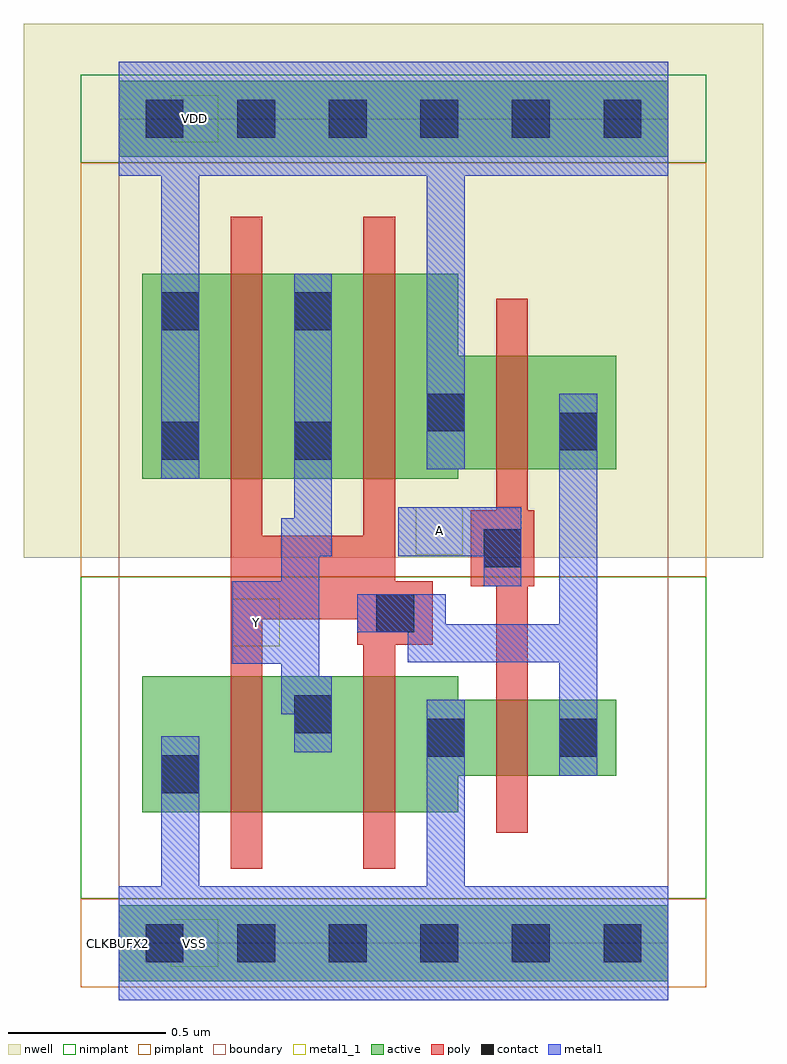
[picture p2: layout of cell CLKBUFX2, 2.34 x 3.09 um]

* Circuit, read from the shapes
.subckt CLKBUFX2 A VDD VSS Y
M1 Y n1 VSS VSS nfet w=0.43u l=0.1u m=2
M2 n1 A VSS VSS nfet w=0.24u l=0.1u
M3 Y n1 VDD VDD pfet w=0.65u l=0.1u m=2
M4 n1 A VDD VDD pfet w=0.36u l=0.1u
.ends

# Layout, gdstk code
import gdstk
lib = gdstk.Library(unit=1e-6, precision=5e-10)
def R(c, l, rs):  # rectangles x0, y0, x1, y1
    for r in rs: c.add(gdstk.rectangle(r[:2], r[2:], *l))
def A(c, l, x, y, w, h, nx, ny, dx, dy):  # array of equal rectangles
    R(c, l, [(x+i*dx, y+j*dy, x+i*dx+w, y+j*dy+h) for i in range(nx) for j in range(ny)])
active = (1, 0)
nwell = (2, 0)
poly = (3, 0)
nimplant = (4, 0)
pimplant = (5, 0)
contact = (6, 0)
metal1 = (7, 0)
metal1_1 = (7, 1)
boundary = (62, 0)

clkbufx2 = lib.new_cell('CLKBUFX2')
R(clkbufx2, active, [(0,-0.12,1.74,0.12), (0.075,0.415,1.075,0.53), (0.075,0.53,1.575,0.77), (0.075,0.77,1.075,0.845), (0.075,1.47,1.075,1.5), (0.075,1.5,1.575,1.86), (0.075,1.86,1.075,2.12), (0,2.49,1.74,2.73)])
R(clkbufx2, nwell, [(-0.3,1.22,2.04,2.91)])
R(clkbufx2, poly, [(0.355,0.235,0.455,1.025), (0.775,0.235,0.875,0.945), (1.195,0.35,1.295,1.13), (0.755,0.945,0.995,1.025), (0.355,1.025,0.995,1.145), (1.115,1.13,1.315,1.37), (0.355,1.145,0.875,1.29), (0.355,1.29,0.455,2.3), (0.775,1.29,0.875,2.3), (1.195,1.37,1.295,2.04)])
R(clkbufx2, nimplant, [(-0.12,0.14,1.86,1.16), (-0.12,2.47,1.86,2.75)])
R(clkbufx2, pimplant, [(-0.12,-0.14,1.86,0.14), (-0.12,1.16,1.86,2.47)])
A(clkbufx2, contact, 0.085, -0.06, 0.12, 0.12, 6, 2, 0.29, 2.61)
R(clkbufx2, contact, [(0.135,0.475,0.255,0.595), (0.975,0.59,1.095,0.71), (1.395,0.59,1.515,0.71), (0.555,0.665,0.675,0.785), (0.815,0.985,0.935,1.105), (1.155,1.19,1.275,1.31), (0.135,1.53,0.255,1.65), (0.555,1.53,0.675,1.65), (1.395,1.56,1.515,1.68), (0.975,1.62,1.095,1.74), (0.135,1.94,0.255,2.06), (0.555,1.94,0.675,2.06)])
R(clkbufx2, metal1, [(0,-0.18,1.74,0.18), (0.135,0.18,0.255,0.655), (0.975,0.18,1.095,0.77), (1.395,0.53,1.515,0.89), (0.555,0.605,0.675,0.725), (0.515,0.725,0.675,0.845), (0.515,0.845,0.635,0.885), (0.36,0.885,0.635,1.145), (0.915,0.89,1.515,0.985), (0.755,0.985,1.515,1.01), (0.755,1.01,1.035,1.105), (1.395,1.01,1.515,1.74), (1.155,1.13,1.275,1.225), (0.515,1.145,0.635,1.225), (0.515,1.225,0.675,1.345), (0.885,1.225,1.275,1.38), (0.555,1.345,0.675,2.12), (0.135,1.47,0.255,2.43), (0.975,1.5,1.095,2.43), (0,2.43,1.74,2.79)])
R(clkbufx2, metal1_1, [(0.165,-0.075,0.315,0.075), (0.36,0.94,0.51,1.09), (0.94,1.23,1.09,1.38), (0.165,2.535,0.315,2.685)])
R(clkbufx2, boundary, [(0,0,1.74,2.61)])
clkbufx2.add(gdstk.Label('CLKBUFX2', (0,0), layer=63, texttype=0))
clkbufx2.add(gdstk.Label('VSS', (0.24,0), layer=7, texttype=3))
clkbufx2.add(gdstk.Label('VDD', (0.24,2.61), layer=7, texttype=3))
clkbufx2.add(gdstk.Label('A', (1.015,1.305), layer=7, texttype=3))
clkbufx2.add(gdstk.Label('Y', (0.435,1.015), layer=7, texttype=3))

lib.write_gds('CLKBUFX2.gds')
